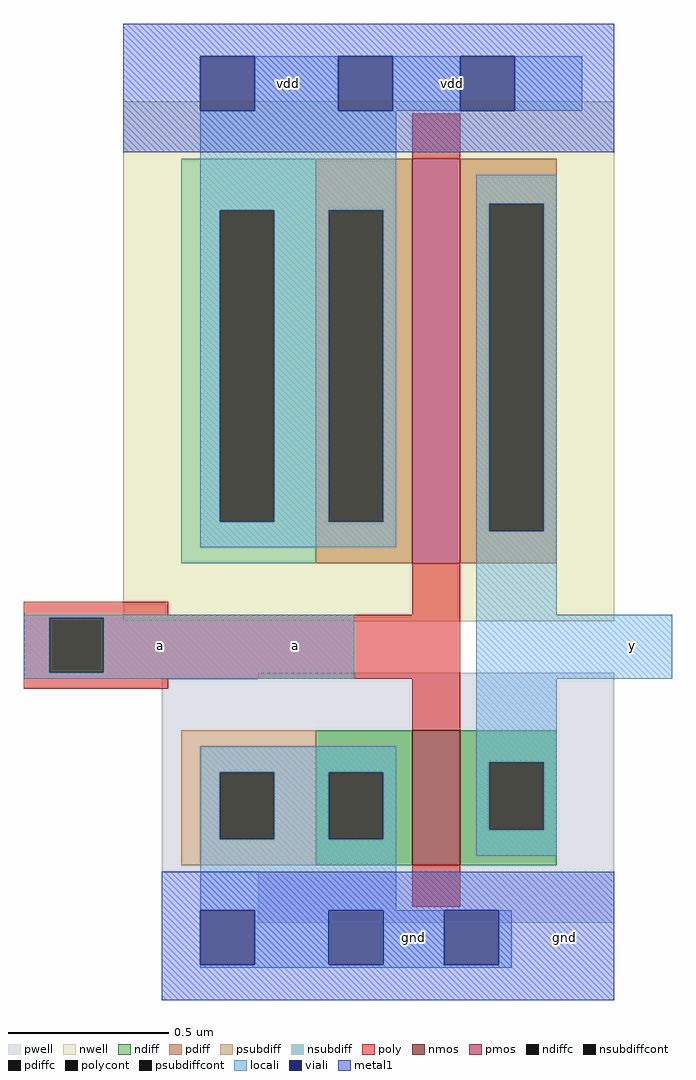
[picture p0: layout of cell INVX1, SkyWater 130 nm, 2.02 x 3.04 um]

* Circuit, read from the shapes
.subckt INVX1 a gnd vdd y
XM1 y a gnd gnd sky130_fd_pr__nfet_01v8 w=0.42 l=0.15
XM2 y a vdd vdd sky130_fd_pr__pfet_01v8 w=1.26 l=0.15
.ends

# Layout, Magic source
magic
tech sky130A
<< nwell >>
rect -60 -18 93 144
<< pwell >>
rect -18 -36 93 -34
rect -48 -96 93 -36
rect -18 -112 93 -96
<< nmos >>
rect 30 -94 45 -52
<< pmos >>
rect 30 0 45 126
<< ndiff >>
rect 0 -65 30 -52
rect 0 -86 4 -65
rect 21 -86 30 -65
rect 0 -94 30 -86
rect 45 -62 75 -52
rect 45 -83 54 -62
rect 71 -83 75 -62
rect 45 -94 75 -83
<< pdiff >>
rect 0 110 30 126
rect 0 13 4 110
rect 21 13 30 110
rect 0 0 30 13
rect 45 112 75 126
rect 45 10 54 112
rect 71 10 75 112
rect 45 0 75 10
<< ndiffc >>
rect 4 -86 21 -65
rect 54 -83 71 -62
<< pdiffc >>
rect 4 13 21 110
rect 54 10 71 112
<< psubdiff >>
rect -42 -65 0 -52
rect -42 -86 -30 -65
rect -13 -86 0 -65
rect -42 -94 0 -86
<< nsubdiff >>
rect -42 110 0 126
rect -42 13 -30 110
rect -13 13 0 110
rect -42 0 0 13
<< psubdiffcont >>
rect -30 -86 -13 -65
<< nsubdiffcont >>
rect -30 13 -13 110
<< poly >>
rect 30 126 45 140
rect -91 -16 -46 -12
rect 30 -16 45 0
rect -91 -17 45 -16
rect -91 -34 -83 -17
rect -66 -34 45 -17
rect -91 -36 45 -34
rect -91 -39 -46 -36
rect 30 -52 45 -36
rect 30 -107 45 -94
<< polycont >>
rect -83 -34 -66 -17
<< locali >>
rect -19 141 7 158
rect 24 141 45 158
rect 62 141 83 158
rect -36 110 25 141
rect -36 13 -30 110
rect -13 13 4 110
rect 21 13 25 110
rect -36 5 25 13
rect 50 112 75 121
rect 50 10 54 112
rect 71 10 75 112
rect 50 -16 75 10
rect -91 -17 12 -16
rect -91 -34 -83 -17
rect -66 -34 12 -17
rect -91 -36 12 -34
rect 50 -36 111 -16
rect -36 -65 25 -57
rect -36 -86 -30 -65
rect -13 -86 4 -65
rect 21 -86 25 -65
rect -36 -108 25 -86
rect 50 -62 75 -36
rect 50 -83 54 -62
rect 71 -83 75 -62
rect 50 -91 75 -83
rect -19 -125 4 -108
rect 21 -125 40 -108
rect 57 -125 61 -108
rect -36 -126 61 -125
<< viali >>
rect -36 141 -19 158
rect 7 141 24 158
rect 45 141 62 158
rect -36 -125 -19 -108
rect 4 -125 21 -108
rect 40 -125 57 -108
<< metal1 >>
rect -60 158 93 168
rect -60 141 -36 158
rect -19 141 7 158
rect 24 141 45 158
rect 62 141 93 158
rect -60 128 93 141
rect -48 -108 93 -96
rect -48 -125 -36 -108
rect -19 -125 4 -108
rect 21 -125 40 -108
rect 57 -125 93 -108
rect -48 -136 93 -125
<< labels >>
rlabel locali -15 -34 2 -17 1 a
rlabel locali 90 -34 107 -17 1 y
rlabel metal1 34 141 51 158 1 vdd
rlabel metal1 -17 141 0 158 1 vdd
rlabel metal1 69 -125 86 -108 1 gnd
rlabel metal1 22 -125 39 -108 1 gnd
rlabel locali -57 -34 -40 -17 1 a
<< end >>
